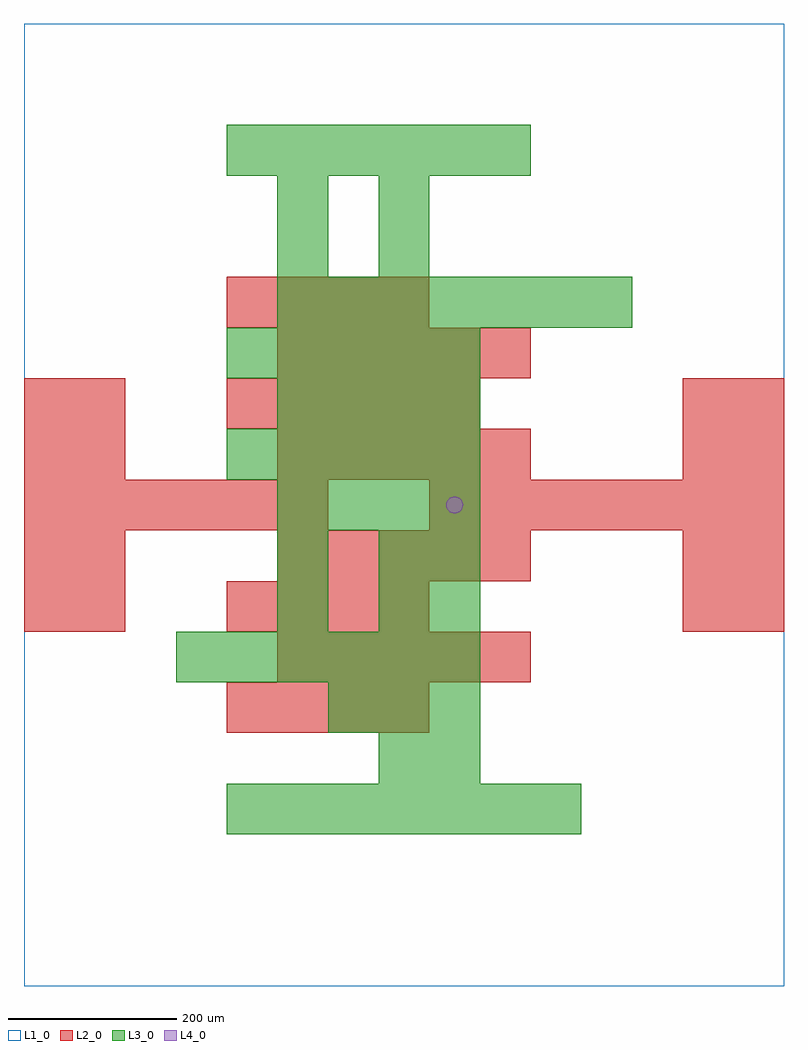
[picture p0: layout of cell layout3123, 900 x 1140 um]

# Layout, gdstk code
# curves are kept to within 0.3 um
import gdstk
lib = gdstk.Library(unit=1e-6, precision=1e-09)
def R(c, l, rs):  # rectangles x0, y0, x1, y1
    for r in rs: c.add(gdstk.rectangle(r[:2], r[2:], *l))
def A(c, l, x, y, w, h, nx, ny, dx, dy):  # array of equal rectangles
    R(c, l, [(x+i*dx, y+j*dy, x+i*dx+w, y+j*dy+h) for i in range(nx) for j in range(ny)])
def P(c, l, *ps):  # polygons
    for p in ps: c.add(gdstk.Polygon(p, *l))
L1_0 = (1, 0)
L2_0 = (2, 0)
L3_0 = (3, 0)
L4_0 = (4, 0)

layout3123 = lib.new_cell('layout3123')
R(layout3123, L1_0, [(0,0,900,1140)])
A(layout3123, L2_0, 240, 300, 60, 60, 4, 2, 60, 120)
A(layout3123, L2_0, 300, 360, 60, 60, 5, 4, 60, 120)
A(layout3123, L2_0, 0, 540, 60, 60, 6, 1, 60, 0)
A(layout3123, L2_0, 480, 540, 60, 60, 7, 1, 60, 0)
A(layout3123, L2_0, 240, 660, 60, 60, 5, 1, 60, 0)
A(layout3123, L2_0, 240, 780, 60, 60, 4, 1, 60, 0)
R(layout3123, L2_0, [(0,420,60,480), (60,420,120,480), (780,420,840,480), (840,420,900,480), (0,480,60,540), (60,480,120,540), (780,480,840,540), (840,480,900,540), (0,600,60,660), (60,600,120,660), (780,600,840,660), (840,600,900,660), (0,660,60,720), (60,660,120,720), (780,660,840,720), (840,660,900,720)])
A(layout3123, L3_0, 240, 180, 60, 60, 7, 1, 60, 0)
A(layout3123, L3_0, 360, 300, 60, 60, 3, 1, 60, 0)
A(layout3123, L3_0, 180, 360, 60, 60, 6, 1, 60, 0)
A(layout3123, L3_0, 300, 540, 60, 60, 4, 2, 60, 120)
A(layout3123, L3_0, 240, 600, 60, 60, 5, 2, 60, 120)
A(layout3123, L3_0, 300, 780, 60, 60, 7, 1, 60, 0)
A(layout3123, L3_0, 240, 960, 60, 60, 6, 1, 60, 0)
R(layout3123, L3_0, [(420,240,480,300), (480,240,540,300), (300,420,360,480), (420,420,480,480), (480,420,540,480), (300,480,360,540), (420,480,480,540), (480,480,540,540), (300,840,360,900), (420,840,480,900), (300,900,360,960), (420,900,480,960)])
P(layout3123, L4_0, [(520,570),(519.239,573.827),(517.071,577.071),(513.827,579.239),(510,580),(506.173,579.239),(502.929,577.071),(500.761,573.827),(500,570),(500.761,566.173),(502.929,562.929),(506.173,560.761),(510,560),(513.827,560.761),(517.071,562.929),(519.239,566.173)])

lib.write_gds('layout3123.gds')
